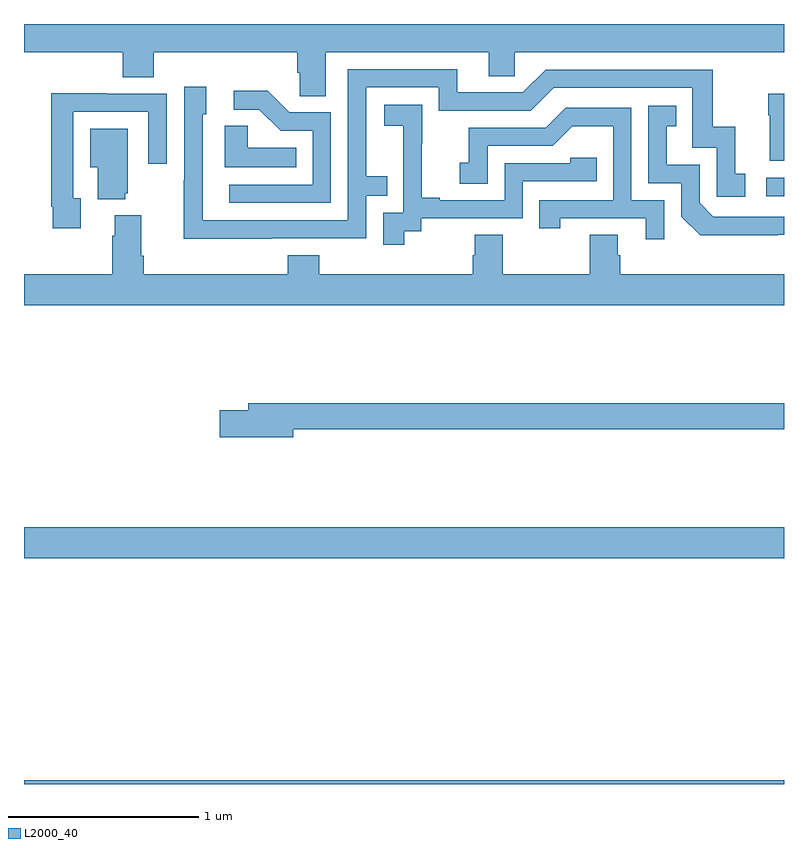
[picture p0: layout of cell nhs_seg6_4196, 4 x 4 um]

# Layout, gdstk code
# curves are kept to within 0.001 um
import gdstk
lib = gdstk.Library(unit=1e-6, precision=1e-09)
def R(c, l, rs):  # rectangles x0, y0, x1, y1
    for r in rs: c.add(gdstk.rectangle(r[:2], r[2:], *l))
def P(c, l, *ps):  # polygons
    for p in ps: c.add(gdstk.Polygon(p, *l))
L2000_40 = (2000, 40)

nhs_seg6_4196 = lib.new_cell('nhs_seg6_4196')
R(nhs_seg6_4196, L2000_40, [(359,927.5,363,927.52), (359,928.688,363,928.852), (362.907,930.594,363,930.69)])
P(nhs_seg6_4196, L2000_40, [(360.589,931.352),(361.445,931.352),(361.445,931.225),(361.584,931.225),(361.584,931.352),(363,931.352),(363,931.5),(359,931.5),(359,931.352),(359.519,931.352),(359.519,931.219),(359.684,931.219),(359.684,931.352),(360.437,931.352),(360.437,931.243),(360.45,931.243),(360.45,931.12),(360.589,931.12)],
  [(360.305,930.372),(360.801,930.372),(360.801,930.597),(360.911,930.597),(360.911,930.698),(360.801,930.698),(360.801,931.167),(361.182,931.167),(361.182,931.044),(361.668,931.044),(361.788,931.164),(362.517,931.164),(362.517,930.849),(362.646,930.849),(362.646,930.591),(362.797,930.591),(362.797,930.711),(362.744,930.711),(362.744,930.958),(362.626,930.958),(362.626,931.26),(361.746,931.26),(361.626,931.14),(361.279,931.14),(361.279,931.263),(360.705,931.263),(360.705,930.468),(359.94,930.468),(359.94,931.026),(359.959,931.026),(359.959,931.171),(359.844,931.171),(359.844,930.677),(359.842,930.677),(359.842,930.371)],
  [(360.615,931.035),(360.396,931.035),(360.283,931.148),(360.105,931.148),(360.105,931.05),(360.239,931.05),(360.35,930.939),(360.519,930.939),(360.519,930.654),(360.081,930.654),(360.081,930.558),(360.615,930.558)],
  [(359.299,930.582),(359.259,930.582),(359.259,931.038),(359.655,931.038),(359.655,930.765),(359.751,930.765),(359.751,931.134),(359.435,931.134),(359.435,931.136),(359.143,931.136),(359.143,930.538),(359.151,930.538),(359.151,930.426),(359.299,930.426)],
  [(363,931.132),(362.917,931.132),(362.917,931.019),(362.924,931.019),(362.924,930.779),(363,930.779)],
  [(361,930.409),(361.092,930.409),(361.092,930.477),(361.626,930.477),(361.626,930.672),(362.015,930.672),(362.015,930.795),(361.875,930.795),(361.875,930.768),(361.53,930.768),(361.53,930.573),(361.189,930.573),(361.189,930.586),(361.094,930.586),(361.094,930.869),(361.095,930.869),(361.095,931.075),(360.897,931.075),(360.897,930.965),(360.995,930.965),(360.995,930.737),(360.996,930.737),(360.996,930.507),(360.891,930.507),(360.891,930.339),(361,930.339)],
  [(362.966,930.39),(363,930.39),(363,930.486),(362.628,930.486),(362.556,930.558),(362.556,930.759),(362.383,930.759),(362.383,930.963),(362.432,930.963),(362.432,931.069),(362.286,931.069),(362.286,930.663),(362.46,930.663),(362.46,930.486),(362.558,930.389)],
  [(362.37,930.573),(362.196,930.573),(362.196,931.059),(361.85,931.059),(361.745,930.954),(361.342,930.954),(361.342,930.769),(361.293,930.769),(361.293,930.66),(361.44,930.66),(361.44,930.858),(361.782,930.858),(361.886,930.962),(362.1,930.962),(362.1,930.573),(361.711,930.573),(361.711,930.426),(361.822,930.426),(361.822,930.477),(362.273,930.477),(362.273,930.366),(362.37,930.366)],
  [(360.434,930.85),(360.177,930.85),(360.177,930.965),(360.056,930.965),(360.056,930.746),(360.434,930.746)],
  [(359.534,930.609),(359.545,930.609),(359.545,930.949),(359.348,930.949),(359.348,930.746),(359.387,930.746),(359.387,930.578),(359.534,930.578)],
  [(363,930.184),(362.138,930.184),(362.138,930.282),(362.125,930.282),(362.125,930.392),(361.978,930.392),(361.978,930.184),(361.521,930.184),(361.521,930.392),(361.373,930.392),(361.373,930.282),(361.361,930.282),(361.361,930.184),(360.554,930.184),(360.554,930.283),(360.389,930.283),(360.389,930.184),(359.63,930.184),(359.63,930.28),(359.617,930.28),(359.617,930.493),(359.477,930.493),(359.477,930.386),(359.465,930.386),(359.465,930.184),(359,930.184),(359,930.02),(363,930.02)],
  [(360.418,929.368),(363,929.368),(363,929.504),(360.179,929.504),(360.179,929.468),(360.03,929.468),(360.03,929.326),(360.418,929.326)])

lib.write_gds('nhs_seg6_4196.gds')
